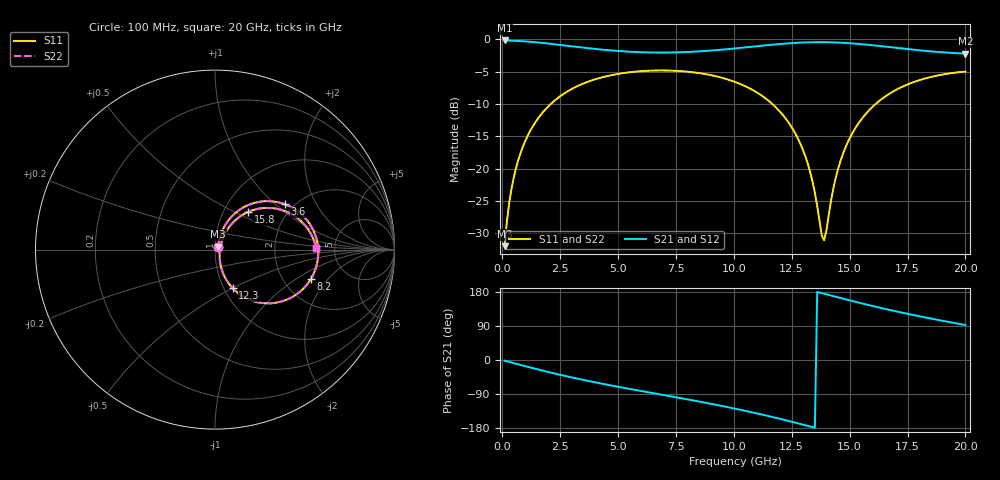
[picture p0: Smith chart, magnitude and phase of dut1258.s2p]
! Touchstone file exported from HFSS 2026.1.0
!  File:  C:/ffzhzh/LocalFiles/Ansys_Project_Files/temp_train_TSV_RDL_1258_1783326595_5512.aedt
!  Generated:  04:45:47 PM Jul  6, 2026
!  Design:  TSV_RDL
!  Project:  temp_train_TSV_RDL_1258_1783326595_5512
! Variables:
!  h_bsmrdl = 5.91um
!  h_ox = 20um
!  h_rdl = 5um
!  h_sub = 79.05um
!  h_tmrdl = 5.93um
!  h_tsv = 79.05um
!  h_via = 3um
!  l_bsmrdl = 614.52um
!  l_sub = 4551.98um
!  l_tmrdl = 544.21um
!  m_sub = 200um
!  pitch = 53.35um
!  r_tsv = 3.36um
!  s_tmrdl = 10um
!  w_bsmrdl = 15.09um
!  w_sub = 500um
!  w_tmrdl = 28.77um
!  x_tsv_center1 = 558.595um
!  x_tsv_center2 = 1188.205um
!  x_tsv_center3 = 1761.185um
!  x_tsv_center4 = 2390.795um
!  x_tsv_center5 = 2963.775um
!  x_tsv_center6 = 3593.385um
# GHz S MA R 50.000000
! Terminal data exported
! Port[1] = TM_RDL1_1_T1
! Port[2] = TM_RDL5_1_T1
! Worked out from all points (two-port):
!   200 points, 100 MHz to 20 GHz, reference 50 ohm
!   highest |S21| = -0.16 dB at 100 MHz (marker M1); lowest = -2.2 dB at 20 GHz (marker M2)
!   |S21| within 3 dB of the highest: start of sweep to end of sweep
!   lowest |S11| = -32.0 dB at 100 MHz (marker M3), VSWR 1.05, Z = 51.8 + j1.78 ohm
!   |S11| at or under -10 dB: start of sweep to 2.088 GHz; 11.67 GHz to 16.12 GHz (4.451 GHz wide, 32 % of centre)
!   |S22| runs from -32.0 to -4.8 dB; largest |S21 - S12| = 3.2e-14
!   S11 on the Smith chart (normalised r, x): 100 MHz: 1.04, +0.04; 3.6 GHz: 1.79, +1.16; 8.2 GHz: 2.81, -1.35; 12.3 GHz: 1.10, -0.50; 15.8 GHz: 1.30, +0.59; 20 GHz: 3.58, +0.07
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0.1  0.02518 42.9  0.9819 -1.7  0.9819 -1.7  0.02518 42.9
! Gamma 0 0 0 0
! Port Impedance 50 0 50 0
0.3  0.05465 64.6  0.9797 -5.0  0.9797 -5.0  0.05465 64.6
0.5  0.08637 68.6  0.9769 -8.3  0.9769 -8.3  0.08637 68.6
1.1  0.1805 65.3  0.9627 -18.0  0.9627 -18.0  0.1805 65.3
2.1  0.3178 52.4  0.9246 -33.4  0.9246 -33.4  0.3178 52.4
3.5  0.4562 34.3  0.8637 -52.5  0.8637 -52.5  0.4562 34.3
3.6  0.4637 33.1  0.8597 -53.8  0.8597 -53.8  0.4637 33.1
5.2  0.5483 14.7  0.8096 -72.9  0.8096 -72.9  0.5483 14.7
6.8  0.5757 -2.4  0.7912 -90.7  0.7912 -90.7  0.5757 -2.4
8.2  0.5582 -17.2  0.8025 -106.2  0.8025 -106.2  0.5582 -17.2
10.1  0.4656 -38.7  0.8537 -128.9  0.8537 -128.9  0.4656 -38.7
12.3  0.2363 -65.4  0.9311 -159.9  0.9311 -159.9  0.2362 -65.4
12.9  0.1522 -70.7  0.9449 -169.2  0.9449 -169.2  0.1521 -70.7
13.4  0.07918 -68.4  0.9512 -177.1  0.9512 -177.1  0.07914 -68.5
13.8  0.03034 -29.0  0.9523 176.5  0.9523 176.5  0.03028 -29.0
13.9  0.02795 -0.0  0.952 174.9  0.952 174.9  0.02789 0.0
14.3  0.07078 53.9  0.9486 168.5  0.9486 168.5  0.07077 54.0
14.6  0.1141 58.3  0.9438 163.7  0.9438 163.7  0.1141 58.3
15.1  0.1857 56.2  0.9318 155.9  0.9318 155.9  0.1857 56.2
15.8  0.2782 48.8  0.9089 145.3  0.9089 145.3  0.2783 48.8
16.7  0.3786 37.9  0.8739 132.5  0.8739 132.5  0.3786 37.9
20  0.5639 0.7  0.7772 92.3  0.7772 92.3  0.5639 0.7
